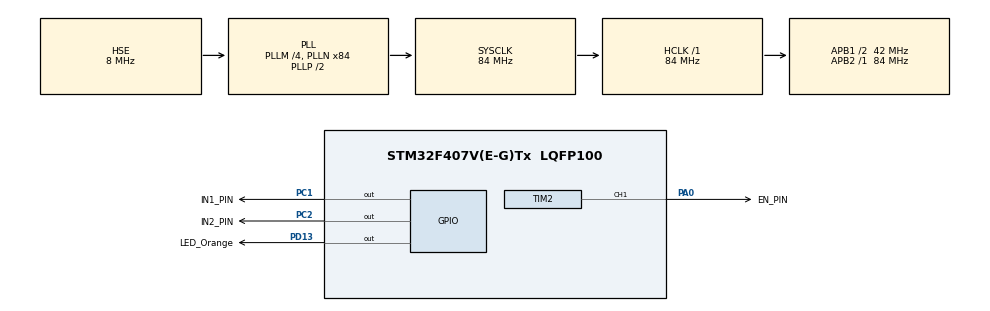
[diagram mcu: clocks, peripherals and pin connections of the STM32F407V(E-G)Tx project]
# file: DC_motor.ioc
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Mcu.Family=STM32F4
Mcu.Name=STM32F407V(E-G)Tx
Mcu.Package=LQFP100
NVIC.PriorityGroup=NVIC_PRIORITYGROUP_4
PA0-WKUP.GPIO_Label=EN_PIN
PA0-WKUP.Signal=S_TIM2_CH1_ETR
PA13.Mode=Trace_Asynchronous_SW
PA13.Signal=SYS_JTMS-SWDIO
PA14.Mode=Trace_Asynchronous_SW
PA14.Signal=SYS_JTCK-SWCLK
PB3.Mode=Trace_Asynchronous_SW
PB3.Signal=SYS_JTDO-SWO
PC1.GPIO_Label=IN1_PIN
PC1.Signal=GPIO_Output
PC2.GPIO_Label=IN2_PIN
PC2.Signal=GPIO_Output
PD13.GPIO_Label=LED_Orange
PD13.Signal=GPIO_Output
PH0-OSC_IN.Mode=HSE-External-Clock-Source
PH0-OSC_IN.Signal=RCC_OSC_IN
PH1-OSC_OUT.Mode=HSE-External-Clock-Source
PH1-OSC_OUT.Signal=RCC_OSC_OUT
ProjectManager.HeapSize=0x200
ProjectManager.StackSize=0x400
ProjectManager.TargetToolchain=STM32CubeIDE
RCC.48MHZClocksFreq_Value=24000000
RCC.AHBFreq_Value=84000000
RCC.APB1CLKDivider=RCC_HCLK_DIV2
RCC.APB1Freq_Value=42000000
RCC.APB1TimFreq_Value=84000000
RCC.APB2Freq_Value=84000000
RCC.APB2TimFreq_Value=84000000
RCC.CortexFreq_Value=84000000
RCC.HCLKFreq_Value=84000000
RCC.HSE_VALUE=8000000
RCC.HSI_VALUE=16000000
RCC.LSE_VALUE=32768
RCC.PLLM=4
RCC.PLLN=84
RCC.PLLQ=7
RCC.PLLSourceVirtual=RCC_PLLSOURCE_HSE
RCC.SYSCLKFreq_VALUE=84000000
RCC.SYSCLKSource=RCC_SYSCLKSOURCE_PLLCLK
RCC.VCOOutputFreq_Value=168000000
SH.S_TIM2_CH1_ETR.0=TIM2_CH1,PWM Generation1 CH1
TIM2.Channel-PWM\ Generation1\ CH1=TIM_CHANNEL_1
TIM2.Period=83999999
TIM2.Prescaler=0
board=STM32F407G-DISC1

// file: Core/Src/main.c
/* USER CODE BEGIN Header */
/**
  ******************************************************************************
  * @file           : main.c
  * @brief          : Main program body
  ******************************************************************************
  * @attention
  *
  * Copyright (c) 2023 STMicroelectronics.
  * All rights reserved.
  *
  * This software is licensed under terms that can be found in the LICENSE file
  * in the root directory of this software component.
  * If no LICENSE file comes with this software, it is provided AS-IS.
  *
  ******************************************************************************
  */
/* USER CODE END Header */
#include "main.h"

/* USER CODE BEGIN Includes */
#include "dc_motor.h"
/* USER CODE END Includes */

TIM_HandleTypeDef htim2;

/* USER CODE BEGIN PV */

DcMot_HandleTypeDef DcMot;

/* USER CODE END PV */

void SystemClock_Config(void);
static void MX_GPIO_Init(void);
static void MX_TIM2_Init(void);
/* USER CODE BEGIN PFP */

DcMot_HandleTypeDef DcMot_Init(void);

/* USER CODE END PFP */

int main(void)
{

  /* MCU Configuration--------------------------------------------------------*/

  /* Reset of all peripherals, Initializes the Flash interface and the Systick. */
  HAL_Init();

  /* Configure the system clock */
  SystemClock_Config();

  /* Initialize all configured peripherals */
  MX_GPIO_Init();
  MX_TIM2_Init();
  /* USER CODE BEGIN 2 */

  DcMot = DcMot_Init();

  /* USER CODE END 2 */

  /* Infinite loop */
  /* USER CODE BEGIN WHILE */

	if (HAL_TIM_PWM_Start(&htim2, TIM_CHANNEL_1) != HAL_OK){
		Error_Handler();
	}

	DcMot_SetDirection(DcMot, FORWARD);
	HAL_Delay(500);
	DcMot_SetDirection(DcMot, REVERSE);
	HAL_Delay(500);
	DcMot_SetDirection(DcMot, FORWARD);

/*	for (uint32_t i = 0; i < 100; i++){
		DcMot_SetSpeed(i);
		HAL_Delay(1000);
	}

	if (HAL_TIM_PWM_Stop(&htim2, TIM_CHANNEL_1) != HAL_OK){
		Error_Handler();
	}*/

  while (1)
  {

    /* USER CODE END WHILE */

  }
}

void SystemClock_Config(void)
{
  RCC_OscInitTypeDef RCC_OscInitStruct = {0};
  RCC_ClkInitTypeDef RCC_ClkInitStruct = {0};

  /** Configure the main internal regulator output voltage
  */
  __HAL_RCC_PWR_CLK_ENABLE();
  __HAL_PWR_VOLTAGESCALING_CONFIG(PWR_REGULATOR_VOLTAGE_SCALE1);

  /** Initializes the RCC Oscillators according to the specified parameters
  * in the RCC_OscInitTypeDef structure.
  */
  RCC_OscInitStruct.OscillatorType = RCC_OSCILLATORTYPE_HSE;
  RCC_OscInitStruct.HSEState = RCC_HSE_BYPASS;
  RCC_OscInitStruct.PLL.PLLState = RCC_PLL_ON;
  RCC_OscInitStruct.PLL.PLLSource = RCC_PLLSOURCE_HSE;
  RCC_OscInitStruct.PLL.PLLM = 4;
  RCC_OscInitStruct.PLL.PLLN = 84;
  RCC_OscInitStruct.PLL.PLLP = RCC_PLLP_DIV2;
  RCC_OscInitStruct.PLL.PLLQ = 7;
  if (HAL_RCC_OscConfig(&RCC_OscInitStruct) != HAL_OK)
  {
    Error_Handler();
  }

  /** Initializes the CPU, AHB and APB buses clocks
  */
  RCC_ClkInitStruct.ClockType = RCC_CLOCKTYPE_HCLK|RCC_CLOCKTYPE_SYSCLK
                              |RCC_CLOCKTYPE_PCLK1|RCC_CLOCKTYPE_PCLK2;
  RCC_ClkInitStruct.SYSCLKSource = RCC_SYSCLKSOURCE_PLLCLK;
  RCC_ClkInitStruct.AHBCLKDivider = RCC_SYSCLK_DIV1;
  RCC_ClkInitStruct.APB1CLKDivider = RCC_HCLK_DIV2;
  RCC_ClkInitStruct.APB2CLKDivider = RCC_HCLK_DIV1;

  if (HAL_RCC_ClockConfig(&RCC_ClkInitStruct, FLASH_LATENCY_2) != HAL_OK)
  {
    Error_Handler();
  }
}

static void MX_TIM2_Init(void)
{

  TIM_MasterConfigTypeDef sMasterConfig = {0};
  TIM_OC_InitTypeDef sConfigOC = {0};

  htim2.Instance = TIM2;
  htim2.Init.Prescaler = 0;
  htim2.Init.CounterMode = TIM_COUNTERMODE_UP;
  htim2.Init.Period = 83999999;
  htim2.Init.ClockDivision = TIM_CLOCKDIVISION_DIV1;
  htim2.Init.AutoReloadPreload = TIM_AUTORELOAD_PRELOAD_DISABLE;
  if (HAL_TIM_PWM_Init(&htim2) != HAL_OK)
  {
    Error_Handler();
  }
  sMasterConfig.MasterOutputTrigger = TIM_TRGO_RESET;
  sMasterConfig.MasterSlaveMode = TIM_MASTERSLAVEMODE_DISABLE;
  if (HAL_TIMEx_MasterConfigSynchronization(&htim2, &sMasterConfig) != HAL_OK)
  {
    Error_Handler();
  }
  sConfigOC.OCMode = TIM_OCMODE_PWM1;
  sConfigOC.Pulse = 0;
  sConfigOC.OCPolarity = TIM_OCPOLARITY_HIGH;
  sConfigOC.OCFastMode = TIM_OCFAST_DISABLE;
  if (HAL_TIM_PWM_ConfigChannel(&htim2, &sConfigOC, TIM_CHANNEL_1) != HAL_OK)
  {
    Error_Handler();
  }
  HAL_TIM_MspPostInit(&htim2);

}

static void MX_GPIO_Init(void)
{
  GPIO_InitTypeDef GPIO_InitStruct = {0};

  /* GPIO Ports Clock Enable */
  __HAL_RCC_GPIOH_CLK_ENABLE();
  __HAL_RCC_GPIOC_CLK_ENABLE();
  __HAL_RCC_GPIOA_CLK_ENABLE();
  __HAL_RCC_GPIOD_CLK_ENABLE();
  __HAL_RCC_GPIOB_CLK_ENABLE();

  /*Configure GPIO pin Output Level */
  HAL_GPIO_WritePin(GPIOC, IN1_PIN_Pin|IN2_PIN_Pin, GPIO_PIN_RESET);

  /*Configure GPIO pin Output Level */
  HAL_GPIO_WritePin(LED_Orange_GPIO_Port, LED_Orange_Pin, GPIO_PIN_RESET);

  /*Configure GPIO pins : IN1_PIN_Pin IN2_PIN_Pin */
  GPIO_InitStruct.Pin = IN1_PIN_Pin|IN2_PIN_Pin;
  GPIO_InitStruct.Mode = GPIO_MODE_OUTPUT_PP;
  GPIO_InitStruct.Pull = GPIO_NOPULL;
  GPIO_InitStruct.Speed = GPIO_SPEED_FREQ_LOW;
  HAL_GPIO_Init(GPIOC, &GPIO_InitStruct);

  /*Configure GPIO pin : LED_Orange_Pin */
  GPIO_InitStruct.Pin = LED_Orange_Pin;
  GPIO_InitStruct.Mode = GPIO_MODE_OUTPUT_PP;
  GPIO_InitStruct.Pull = GPIO_NOPULL;
  GPIO_InitStruct.Speed = GPIO_SPEED_FREQ_LOW;
  HAL_GPIO_Init(LED_Orange_GPIO_Port, &GPIO_InitStruct);

}

/* USER CODE BEGIN 4 */

DcMot_HandleTypeDef DcMot_Init(void){
	DcMot_HandleTypeDef DcMot;

	DcMot_PinDef EN_pin = EN_PIN_Pin;
	DcMot_PortDef EN_port = EN_PIN_GPIO_Port;

	DcMot_PinDef IN1_pin = IN1_PIN_Pin;
	DcMot_PortDef IN1_port = IN1_PIN_GPIO_Port;

	DcMot_PinDef IN2_pin = IN2_PIN_Pin;
	DcMot_PortDef IN2_port = IN2_PIN_GPIO_Port;

	DcMot = DcMot_create(EN_pin, EN_port, IN1_pin, IN1_port, IN2_pin, IN2_port);

	return DcMot;
}

/* USER CODE END 4 */

void Error_Handler(void)
{
  __disable_irq();
  while (1)
  {
  }
}
